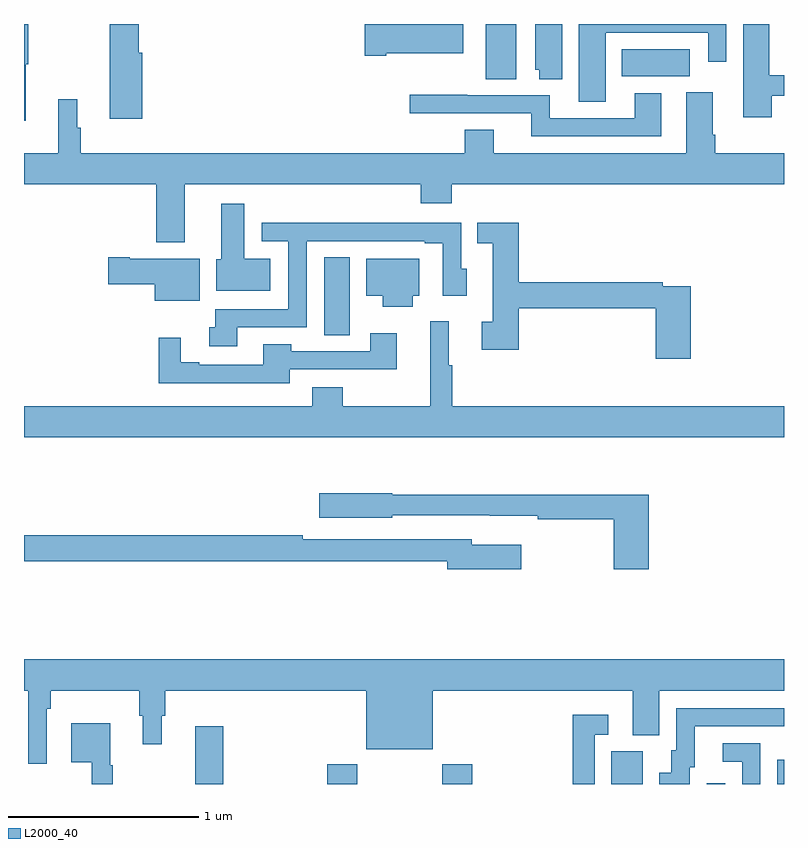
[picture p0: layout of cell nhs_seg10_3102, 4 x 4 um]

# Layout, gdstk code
import gdstk
lib = gdstk.Library(unit=1e-6, precision=1e-09)
def R(c, l, rs):  # rectangles x0, y0, x1, y1
    for r in rs: c.add(gdstk.rectangle(r[:2], r[2:], *l))
def P(c, l, *ps):  # polygons
    for p in ps: c.add(gdstk.Polygon(p, *l))
L2000_40 = (2000, 40)

nhs_seg10_3102 = lib.new_cell('nhs_seg10_3102')
R(nhs_seg10_3102, L2000_40, [(279.902,1290.5,280.049,1290.805), (280.595,1290.5,280.755,1290.604), (281.2,1290.5,281.36,1290.604), (282.092,1290.5,282.256,1290.672), (282.594,1290.5,282.69,1290.505), (282.965,1290.5,283,1290.628), (280.58,1292.863,280.714,1293.272), (281.429,1294.21,281.59,1294.5), (282.146,1294.226,282.505,1294.366)])
P(nhs_seg10_3102, L2000_40, [(282.935,1294.122),(283,1294.122),(283,1294.23),(282.922,1294.23),(282.922,1294.5),(282.785,1294.5),(282.785,1294.008),(282.935,1294.008)],
  [(280.906,1294.346),(281.311,1294.346),(281.311,1294.5),(280.794,1294.5),(280.794,1294.334),(280.906,1294.334)],
  [(279.01,1294.287),(279.022,1294.287),(279.022,1294.5),(279,1294.5),(279,1293.992),(279.01,1293.992)],
  [(282.061,1294.454),(282.6,1294.454),(282.6,1294.302),(282.696,1294.302),(282.696,1294.5),(281.921,1294.5),(281.921,1294.09),(282.061,1294.09)],
  [(281.833,1294.5),(281.69,1294.5),(281.69,1294.26),(281.711,1294.26),(281.711,1294.21),(281.833,1294.21)],
  [(279.623,1294.35),(279.605,1294.35),(279.605,1294.5),(279.451,1294.5),(279.451,1294.35),(279.452,1294.35),(279.452,1294.002),(279.623,1294.002)],
  [(283,1293.82),(282.638,1293.82),(282.638,1293.916),(282.625,1293.916),(282.625,1294.141),(282.485,1294.141),(282.485,1293.82),(281.473,1293.82),(281.473,1293.944),(281.321,1293.944),(281.321,1293.82),(279.299,1293.82),(279.299,1293.954),(279.28,1293.954),(279.28,1294.105),(279.181,1294.105),(279.181,1293.82),(279,1293.82),(279,1293.656),(279.695,1293.656),(279.695,1293.351),(279.847,1293.351),(279.847,1293.656),(281.087,1293.656),(281.087,1293.557),(281.252,1293.557),(281.252,1293.656),(283,1293.656)],
  [(282.355,1294.135),(282.215,1294.135),(282.215,1294.005),(281.767,1294.005),(281.767,1294.125),(281.333,1294.125),(281.333,1294.128),(281.031,1294.128),(281.031,1294.029),(281.669,1294.029),(281.669,1293.909),(282.355,1293.909)],
  [(280.297,1293.265),(280.159,1293.265),(280.159,1293.553),(280.037,1293.553),(280.037,1293.261),(280.013,1293.261),(280.013,1293.095),(280.297,1293.095)],
  [(280.123,1292.904),(280.488,1292.904),(280.488,1293.357),(281.108,1293.357),(281.108,1293.345),(281.205,1293.345),(281.205,1293.069),(281.329,1293.069),(281.329,1293.213),(281.301,1293.213),(281.301,1293.453),(281.003,1293.453),(281.003,1293.455),(280.251,1293.455),(280.251,1293.357),(280.392,1293.357),(280.392,1293),(280.006,1293),(280.006,1292.903),(279.975,1292.903),(279.975,1292.805),(280.123,1292.805)],
  [(282.509,1293.12),(282.362,1293.12),(282.362,1293.14),(281.603,1293.14),(281.603,1293.455),(281.386,1293.455),(281.386,1293.345),(281.468,1293.345),(281.468,1292.934),(281.409,1292.934),(281.409,1292.786),(281.603,1292.786),(281.603,1293.004),(282.326,1293.004),(282.326,1292.739),(282.509,1292.739)],
  [(279.925,1293.265),(279.556,1293.265),(279.556,1293.273),(279.444,1293.273),(279.444,1293.131),(279.689,1293.131),(279.689,1293.044),(279.925,1293.044)],
  [(281.047,1293.071),(281.08,1293.071),(281.08,1293.265),(280.802,1293.265),(280.802,1293.071),(280.889,1293.071),(280.889,1293.011),(281.047,1293.011)],
  [(283,1292.488),(281.255,1292.488),(281.255,1292.703),(281.236,1292.703),(281.236,1292.935),(281.138,1292.935),(281.138,1292.488),(280.677,1292.488),(280.677,1292.587),(280.517,1292.587),(280.517,1292.488),(279,1292.488),(279,1292.324),(283,1292.324)],
  [(280.399,1292.682),(280.963,1292.682),(280.963,1292.872),(280.823,1292.872),(280.823,1292.778),(280.407,1292.778),(280.407,1292.815),(280.259,1292.815),(280.259,1292.706),(279.922,1292.706),(279.922,1292.719),(279.826,1292.719),(279.826,1292.848),(279.709,1292.848),(279.709,1292.61),(280.399,1292.61)],
  [(282.287,1292.023),(280.938,1292.023),(280.938,1292.031),(280.554,1292.031),(280.554,1291.901),(280.938,1291.901),(280.938,1291.914),(281.452,1291.914),(281.452,1291.913),(281.704,1291.913),(281.704,1291.894),(282.104,1291.894),(282.104,1291.629),(282.287,1291.629)],
  [(281.617,1291.759),(281.356,1291.759),(281.356,1291.788),(280.466,1291.788),(280.466,1291.808),(279,1291.808),(279,1291.672),(281.228,1291.672),(281.228,1291.63),(281.617,1291.63)],
  [(279,1290.992),(279.023,1290.992),(279.023,1290.606),(279.12,1290.606),(279.12,1290.896),(279.14,1290.896),(279.14,1290.992),(279.607,1290.992),(279.607,1290.858),(279.626,1290.858),(279.626,1290.708),(279.724,1290.708),(279.724,1290.858),(279.743,1290.858),(279.743,1290.992),(280.802,1290.992),(280.802,1290.683),(281.152,1290.683),(281.152,1290.992),(282.203,1290.992),(282.203,1290.757),(282.343,1290.757),(282.343,1290.992),(283,1290.992),(283,1291.156),(279,1291.156)],
  [(282.505,1290.588),(282.529,1290.588),(282.529,1290.804),(283,1290.804),(283,1290.9),(282.432,1290.9),(282.432,1290.678),(282.407,1290.678),(282.407,1290.559),(282.344,1290.559),(282.344,1290.5),(282.505,1290.5)],
  [(282.003,1290.759),(282.076,1290.759),(282.076,1290.865),(281.887,1290.865),(281.887,1290.5),(282.003,1290.5)],
  [(279.466,1290.6),(279.454,1290.6),(279.454,1290.82),(279.248,1290.82),(279.248,1290.614),(279.357,1290.614),(279.357,1290.5),(279.466,1290.5)],
  [(282.876,1290.714),(282.678,1290.714),(282.678,1290.618),(282.78,1290.618),(282.78,1290.5),(282.876,1290.5)])

lib.write_gds('nhs_seg10_3102.gds')
